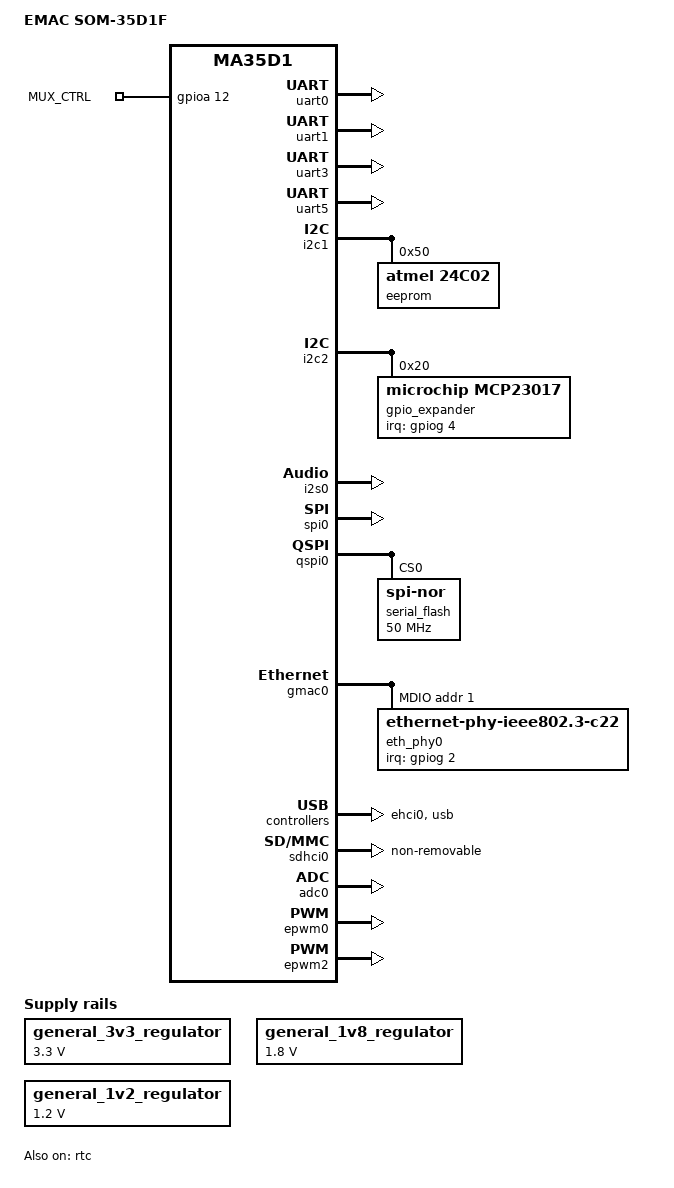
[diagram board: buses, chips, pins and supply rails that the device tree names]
// SPDX-License-Identifier: GPL-2.0-or-later
/*
 * Device Tree Include file for the SoM-35D1F
 *
 * Copyright (C) 2024 EMAC Inc.
 *
 */

#include "ma35d1.dtsi"
#include <dt-bindings/leds/common.h>
#include <dt-bindings/net/mscc-phy-vsc8531.h>
#include <dt-bindings/gpio/gpio.h>
#include <dt-bindings/interrupt-controller/irq.h>

/ {
	model = "EMAC SOM-35D1F";
	compatible = "emac,som35d1f", "nuvoton,ma35d1";
	chosen {
		bootargs = "root=/dev/mmcblk1p1 rootfstype=ext4 rw rootwait console=ttyS0,115200n8 rdinit=/sbin/init mem=512M";
	};

	general_3v3_regulator: general_3v3_regulator {
		compatible = "regulator-fixed";
		regulator-min-microvolt = <3300000>;
		regulator-max-microvolt = <3300000>;
		regulator-name = "general_3v3_regulator";
		regulator-always-on;
	};

	general_1v8_regulator: general_1v8_regulator {
		compatible = "regulator-fixed";
		regulator-min-microvolt = <1800000>;
		regulator-max-microvolt = <1800000>;
		regulator-name = "general_1v8_regulator";
		regulator-always-on;
	};

	general_1v2_regulator: general_1v2_regulator {
		compatible = "regulator-fixed";
		regulator-min-microvolt = <1200000>;
		regulator-max-microvolt = <1200000>;
		regulator-name = "general_1v2_regulator";
		regulator-always-on;
	};

	volt0_sdhci1: regulator-volt0_sdhci1 {
		compatible = "nuvoton,ma35d1-volt";
		regulator-min-microvolt = <1800000>;
		regulator-max-microvolt = <3300000>;
		regulator-name = "volt0_sdhci1";
		regulator-always-on;
	};


	// hacky as fuck. I need to drive this pin high so that the "other" pins route to the right places in the mux -> gpiog
	gpio_leds_test {
		compatible = "gpio-leds";
		pinctrl-names = "default";
		pinctrl-0 = <&pinctrl_mux_ctrl>;
		status = "okay";
		mux_ctrl {
			label = "MUX_CTRL";
			gpios = <&gpioa 12 GPIO_ACTIVE_HIGH>;
			default-state = "on";
	};
};

};

// all options come with 512 MB
&mem {
	device_type = "memory";
	reg = <0x00000000 0x80000000 0 0x20000000>;
};

// &crypto {
// 	optee_nuvoton = "no";
// };
//
// &key_store {
// 	optee_nuvoton = "yes";
// };
//
// &trng {
// 	optee_nuvoton = "no";
// };

&gpioa {
	gpio-line-names =
		"", "", "", "",
		"", "", "", "",
		"", "", "", "",
		"MUX_CTRL", "#HUB_REST", "CAM_SHUTDOWN", "", "";

	// GPIOA.12 drives MUX_CTRL for U14 and U17.
	// boot_int_mux_sel_hog {
	// 	gpio-hog;
	// 	gpios = <12 GPIO_ACTIVE_HIGH>;
	// 	output-high;
	// 	line-name = "MUX_CTRL";
	// };
};
&gpiob {
	gpio-line-names =
		"", "", "", "",
		"", "", "", "",
		"#FLASH_WP", "", "", "",
		"", "", "", "";
};
&gpioc {
	gpio-line-names =
		"", "", "", "",
		"", "", "", "COMA_DTR",
		"", "", "", "",
		"", "", "", "";

};
&gpiod {
	gpio-line-names =
		"", "", "", "",
		"", "", "", "",
		"#nRESET_PHY", "SPI0_CS2", "SPI0_CS1", "SPI0_CS0",
		"", "", "", "";
};

&gpiog {
	gpio-line-names =
		"IRQA", "#TS_INT", "PHY_INT", "#INT_PMIC",
		"EXP_INTB", "EXP_INTA", "", "",
		"", "", "", "", "",
		"", "", "", "";
};

&gpiol {
	gpio-line-names =
		"", "", "", "",
		"", "", "", "",
		"", "", "", "",
		"", "", "SPI0_CS3", "";
};
&gpion {
	gpio-line-names =
		"", "", "COMA_DSR", "COMA_RI",
		"", "", "", "",
		"", "", "", "",
		"PWRON_SET#", "", "OSC0_GPIO14", "OSC0_GPIO15";
};


&display {
	pinctrl-names = "default";
	pinctrl-0 = <&pinctrl_lcm>;
};

&rtc {
	lxt-detect-enable = <1>;

	status = "okay";
};

// console
&uart0 {
	pinctrl-names = "default";
	pinctrl-0 = <&pinctrl_uart0>;

	status = "okay";
};

&uart1 {
	pinctrl-names = "default";
	pinctrl-0 = <&pinctrl_uart1>;

	status = "okay";

	uart-has-rtscts;
};

&uart3 {
	pinctrl-names = "default";
	pinctrl-0 = <&pinctrl_uart3>;

	status = "okay";

	uart-has-rtscts;
};

&uart5 {
	pinctrl-names = "default";
	pinctrl-0 = <&pinctrl_uart5>;

	status = "okay";

	uart-has-rtscts;
};

// &i2c0 {
// 	pinctrl-names = "default";
// 	pinctrl-0 = <&pinctrl_i2c0>;
// 	// so this only controls the PMIC U4 -> (TPS65023)...
// };

&i2c1 {
	pinctrl-names = "default";
	pinctrl-0 = <&pinctrl_i2c1>;
	status = "okay";

	#address-cells = <1>;
	#size-cells = <0>;

	// Refdes: U12
	// Chip: 34AA02T-I/OT
	// Datasheet: https://ww1.microchip.com/downloads/en/DeviceDoc/22029F.pdf
	eeprom: atmel@50 {
		// pagesize:
		// size:
		//   wp-gpios: true
		//
		compatible = "atmel,24c02";
		reg = <0x50>;
		// vcc-supply = <&general_3v3_regulator>;
		status = "okay";
	};

	// Refdes: U21
	// Chip: TSC2004
	// Data Sheet: https://www.ti.com/lit/ds/symlink/tsc2004.pdf
	tsc2004: touchscreen@4a {
		pinctrl-names = "default";
		pinctrl-0 = <&pinctrl_tsc2004>;

		compatible = "ti,tsc2004";
		reg = <0x4a>;

		vio-supply = <&general_3v3_regulator>;

		// #RST_IN
		// reset-gpios = <>;
		// interrupts-extended = <&gpiog 1 IRQ_TYPE_EDGE_FALLING>; // IRQ_TYPE_EDGE_FALLING>; , IRQ_TYPE_LEVEL_LOW>; IRQ_TYPE_EDGE_RISING> ;

		interrupt-parent = <&gpiog>;
		interrupts = <1 IRQ_TYPE_EDGE_FALLING>;

		touchscreen-fuzz-x = <4>;
		touchscreen-fuzz-y = <7>;
		touchscreen-fuzz-pressure = <2>;

		touchscreen-size-x = <4096>;
		touchscreen-size-y = <4096>;

		touchscreen-max-pressure = <2048>;

		ti,x-plate-ohms = <280>;
		ti,esd-recovery-timeout-ms = <8000>;

		status = "disabled";
	};
};

&i2c2{
	pinctrl-names = "default";
	pinctrl-0 = <&pinctrl_i2c2>;
	status = "okay";
	// U22
	// Chip: TC358748XBG
	// DataSheet: https://resources.ampheo.com/static/datasheets/toshiba-electronic-devices-and-storage-corporation/tc358748xbg.pdf
	// DRIVER ? -> ;https://github.com/avionic-design/linux-l4t/blob/meerkat/l4t-r21-5/drivers/media/i2c/tc358748.c
	// Option Number: 1
	// csi_bridge: yuv_csi_bridge@ {
	// 	status = "disabled";
	// };

	//
	gpio_expander: gpio_expander@20 {
		compatible = "microchip,mcp23017";
		reg = <0x20>;
		gpio-controller;
		#address-cells = <1>;
		#gpio-cells = <2>;

		interrupt-parent = <&gpiog>;
		interrupts = <4 IRQ_TYPE_LEVEL_LOW>, <5 IRQ_TYPE_LEVEL_LOW>; // EXP_INTA, EXP_INTB
		interrupt-controller;
		#interrupt-cells=<2>;
	};
};

&i2s0 {
	pinctrl-names = "default";
	pinctrl-0 = <&pinctrl_i2s0>;
	status = "okay";
};


// The last rate is altered.
// Why: setup for the display. because the diplay can not div by 3 and is 2 based .....
// we change the dcu rate to get the clk to 33264 kHz.
// see the datasheet for the panel
// <102000000> was the default rate. It might be better to place this in the 255 at some point soon.
// This needs to be tested to make sure that the clk does not mess with others . it shouldn't but further testing is needed
&clk {
	assigned-clock-rates = <1000000000>,
		<266000000>, <196608000>,
		<500000000>, <133056000>;
};

&spi0{
	pinctrl-names = "default";
	pinctrl-0 = <&pinctrl_spi0>;
	num_cs = <4>;
	spi-max-frequency = <5000000>;

	status = "okay";
};

&qspi0 {
	pinctrl-names = "default";
	pinctrl-0 = <&pinctrl_qspi0>;
	num_cs = <1>;
	status = "okay";

	/delete-node/ flash@0;
	/delete-node/ spi@1;

	serial_flash: flash@0 {
		compatible = "jedec,spi-nor";
		reg = <0>;
		spi-max-frequency = <50000000>;

		status = "okay";

		#address-cells = <1>;
		#size-cells = <1>;
		uboot@0 {
			label = "qspi-uboot";
			reg = <0x0 0x300000>;
		};

		uboot-env@300000 {
			label = "qspi-uboot-env";
			reg = <0x300000 0xc0000>;
		};

		device-tree@3c0000 {
			label = "qspi-device-tree";
			reg = <0x3c0000 0x40000>;
		};

		kernel@400000 {
			label = "qspi-kernel";
			reg = <0x400000 0x1800000>;
		};
	};
};

&can1 {
	pinctrl-names = "default";
	pinctrl-0 = <&pinctrl_can1>;
};

&can2 {
	pinctrl-names = "default";
	pinctrl-0 = <&pinctrl_can2>;
};

&gmac0 {
	pinctrl-names = "default";
	pinctrl-0 = <&pinctrl_gmac0>;

	// _PD8MFP_GPIO
	// emac-phy-reset = <&gpiod >;
	status = "okay";

	mdio0: mdio {
		compatible = "snps,dwmac-mdio";
		#address-cells = <1>;
		#size-cells = <0>;
		eth_phy0: ethernet-phy@0 {
			compatible = "ethernet-phy-ieee802.3-c22";
			interrupts-extended = <&gpiog 2 IRQ_TYPE_EDGE_FALLING>;
			reg = <1>;
		};
	};
};

&gmac1 {
	pinctrl-names = "default";
	pinctrl-0 = <&pinctrl_gmac1>;
	status = "disabled";
};

// USB
&ehci0 {
	pinctrl-names = "default";
	pinctrl-0 = <&pinctrl_hsusb0>;
	interrupts = <GIC_SPI 33 IRQ_TYPE_LEVEL_HIGH>;
	oc-active-level = <1>;
	status = "okay";
	// USB2512BI Option 3
};

// now sometimes there is a option to add andother chip to this as a option see page
// page 6 at (OPTION 03) in the schematics.
&usb {
	status = "okay";

};

&sdhci0 {
	pinctrl-names = "default";
	pinctrl-0 = <&pinctrl_sdhci0>;
	disable-wp;
	non-removable;
	/delete-property/ wp-gpios;
	// wp-gpios = <&gpioc 7 GPIO_ACTIVE_HIGH>;

	status = "okay";

	// RefDes:  U16
	// Chip: MTFC4GACAJCN-4M IT
	//
	emmc: slot@0 {
		// reset = nRESET =
		reg = <0>;
		bus-width = <4>;
		non-removable;
		no-1-8-v;
		sd-uhs-sdr50;
	};
};

&sdhci1 {
	pinctrl-names = "default";
	pinctrl-0 = <&pinctrl_sdhci1>;
	status = "disabled";
};

// MIPI/CSI Bridge
&ccap0 {
	pinctrl-names = "default";
	pinctrl-0 = <&pinctrl_ccap0>;
	status = "disabled";
};

&adc0 {
	compatible = "nuvoton,ma35d1-adc";
	pinctrl-names = "default";
	pinctrl-0 = <&pinctrl_adc0>;
	status = "okay";
};

&ehci1 {
	oc-active-level = <1>;
};


&epwm0 {
	pinctrl-names = "default";
	pinctrl-0 = <&pinctrl_epwm0>;
	status = "okay";

	#pwm-cells = <2>;
};

&epwm2 {
	pinctrl-names = "default";
	pinctrl-0 = <&pinctrl_epwm2>;
	status = "okay";

	#pwm-cells = <2>;
};

&pinctrl {
	gpios_pins {
		// MUX_CRTL = PA12
		pinctrl_mux_ctrl: muxctrlgrp {
			nuvoton,pins =
				<SYS_GPA_MFPH_PA12MFP_GPIO 		&pcfg_default>;
		};

		// PG.7 , PG.6 = boot pins
		pinctrl_boot_init_mux: bootinitmuxgrp {
			nuvoton,pins =
				<SYS_GPG_MFPL_PG0MFP_GPIO		&pcfg_default>,
				<SYS_GPG_MFPL_PG1MFP_GPIO		&pcfg_default>,
				<SYS_GPG_MFPL_PG2MFP_GPIO		&pcfg_default>,
				<SYS_GPG_MFPL_PG3MFP_GPIO		&pcfg_default>,
				<SYS_GPG_MFPL_PG4MFP_GPIO		&pcfg_default>,
				<SYS_GPG_MFPL_PG5MFP_GPIO		&pcfg_default>;
		};

		// PWRON_SET#,  #HUB_REST
		pinctrl_pwr_reset: pwrresetgrp {
			nuvoton,pins =
				<SYS_GPN_MFPH_PN12MFP_GPIO		&pcfg_default>,
				<SYS_GPA_MFPH_PA13MFP_GPIO		&pcfg_default>;
		};

		// #FLASH_WP
		pinctrl_flash_wp_ext: flashwpextgrp {
			nuvoton,pins =
				<SYS_GPB_MFPH_PB8MFP_GPIO		&pcfg_default>;
		};

		// GPIO14, OSC0_GPIO15,
		pinctrl_osc_gpios: oscgpiosgrp {
			nuvoton,pins =
				<SYS_GPN_MFPH_PN14MFP_GPIO		&pcfg_default>,
				<SYS_GPN_MFPH_PN15MFP_GPIO		&pcfg_default>;
		};
	};

	uart_pins {
		pinctrl_uart0: uart0grp{
			nuvoton,pins =
				<SYS_GPE_MFPH_PE14MFP_UART0_TXD		&pcfg_default>,
				<SYS_GPE_MFPH_PE15MFP_UART0_RXD		&pcfg_default>;
		};

		pinctrl_uart1: uart1grp{
			// COMA_DTR, COMA_DSR, "COMA_RI"
			nuvoton,pins =
				<SYS_GPA_MFPL_PA0MFP_UART1_nCTS		&pcfg_default>,
				<SYS_GPA_MFPL_PA1MFP_UART1_nRTS		&pcfg_default>,
				<SYS_GPA_MFPL_PA2MFP_UART1_RXD		&pcfg_default>,
				<SYS_GPA_MFPL_PA3MFP_UART1_TXD		&pcfg_default>,

				<SYS_GPC_MFPL_PC7MFP_GPIO		&pcfg_default>,
				<SYS_GPN_MFPL_PN2MFP_GPIO		&pcfg_default>,
				<SYS_GPN_MFPL_PN3MFP_GPIO		&pcfg_default>;
		};

		pinctrl_uart3: uartgrp3 {
			nuvoton,pins =
				<SYS_GPA_MFPL_PA4MFP_UART3_nCTS		&pcfg_default>,
				<SYS_GPA_MFPL_PA5MFP_UART3_nRTS		&pcfg_default>,
				<SYS_GPA_MFPL_PA6MFP_UART3_RXD		&pcfg_default>,
				<SYS_GPA_MFPL_PA7MFP_UART3_TXD		&pcfg_default>;
		};

		pinctrl_uart5: uart5grp {
			nuvoton,pins =
				<SYS_GPA_MFPH_PA8MFP_UART5_nCTS		&pcfg_default>,
				<SYS_GPA_MFPH_PA9MFP_UART5_nRTS		&pcfg_default>,
				<SYS_GPA_MFPH_PA10MFP_UART5_RXD		&pcfg_default>,
				<SYS_GPA_MFPH_PA11MFP_UART5_TXD		&pcfg_default>;
		};
	};

	i2c_pins {
		pinctrl_i2c0: i2c0grp {
			nuvoton,pins =
				<SYS_GPD_MFPL_PD6MFP_I2C0_SDA		&pcfg_default>,
				<SYS_GPD_MFPL_PD7MFP_I2C0_SCL		&pcfg_default>;
		};

		pinctrl_i2c1: i2c1grp {
			nuvoton,pins =
				<SYS_GPN_MFPL_PN4MFP_I2C1_SDA		&pcfg_default>,
				<SYS_GPN_MFPL_PN5MFP_I2C1_SCL		&pcfg_default>;
		};

		pinctrl_i2c2: i2c2grp {
			nuvoton,pins =
				<SYS_GPN_MFPL_PN0MFP_I2C2_SDA		&pcfg_default>,
				<SYS_GPN_MFPL_PN1MFP_I2C2_SCL		&pcfg_default>;
		};
	};

	spi_pins {
		pinctrl_spi0: spi0grp {
			// SPI0_CS0 , SPI0_CS1 ,SPI0_CS2 ,SPI0_CS3 ,
			nuvoton,pins =
				<SYS_GPB_MFPH_PB9MFP_SPI0_CLK		&pcfg_default>,
				<SYS_GPB_MFPH_PB10MFP_SPI0_MOSI		&pcfg_default>,
				<SYS_GPB_MFPH_PB11MFP_SPI0_MISO		&pcfg_default>,

				<SYS_GPD_MFPH_PD11MFP_GPIO		&pcfg_default>,
				<SYS_GPD_MFPH_PD10MFP_GPIO		&pcfg_default>,
				<SYS_GPD_MFPH_PD9MFP_GPIO		&pcfg_default>,
				<SYS_GPL_MFPH_PL14MFP_GPIO		&pcfg_default>;
		};

		pinctrl_qspi0: qspi0grp {
			nuvoton,pins =
				<SYS_GPD_MFPL_PD0MFP_QSPI0_SS0		&pcfg_default>,
				<SYS_GPD_MFPL_PD1MFP_QSPI0_CLK		&pcfg_default>,
				<SYS_GPD_MFPL_PD2MFP_QSPI0_MOSI0	&pcfg_default>,
				<SYS_GPD_MFPL_PD3MFP_QSPI0_MISO0	&pcfg_default>,
				<SYS_GPD_MFPL_PD4MFP_QSPI0_MOSI1	&pcfg_default>,
				<SYS_GPD_MFPL_PD5MFP_QSPI0_MISO1	&pcfg_default>;
		};
	};

	networking_pins {
		pinctrl_gmac0: gmac0grp {
			// #nRESET_PHY
			nuvoton,pins =
				<SYS_GPD_MFPH_PD8MFP_GPIO 		&pcfg_default>,
				<SYS_GPE_MFPL_PE0MFP_RGMII0_MDC		&pcfg_emac_1_8V>,
				<SYS_GPE_MFPL_PE1MFP_RGMII0_MDIO	&pcfg_emac_1_8V>,

				<SYS_GPE_MFPL_PE2MFP_RGMII0_TXCTL	&pcfg_emac_1_8V>,
				<SYS_GPE_MFPL_PE3MFP_RGMII0_TXD0	&pcfg_emac_1_8V>,
				<SYS_GPE_MFPL_PE4MFP_RGMII0_TXD1	&pcfg_emac_1_8V>,

				<SYS_GPE_MFPL_PE5MFP_RGMII0_RXCLK	&pcfg_emac_1_8V>,
				<SYS_GPE_MFPL_PE6MFP_RGMII0_RXCTL	&pcfg_emac_1_8V>,
				<SYS_GPE_MFPL_PE7MFP_RGMII0_RXD0	&pcfg_emac_1_8V>,
				<SYS_GPE_MFPH_PE8MFP_RGMII0_RXD1	&pcfg_emac_1_8V>,
				<SYS_GPE_MFPH_PE9MFP_RGMII0_RXD2	&pcfg_emac_1_8V>,
				<SYS_GPE_MFPH_PE10MFP_RGMII0_RXD3	&pcfg_emac_1_8V>,

				<SYS_GPE_MFPH_PE11MFP_RGMII0_TXCLK	&pcfg_emac_1_8V>,
				<SYS_GPE_MFPH_PE12MFP_RGMII0_TXD2	&pcfg_emac_1_8V>,
				<SYS_GPE_MFPH_PE13MFP_RGMII0_TXD3	&pcfg_emac_1_8V>;

		};

		pinctrl_gmac1: gmac1grp{
			nuvoton,pins =
				<SYS_GPF_MFPL_PF0MFP_RMII1_MDC          &pcfg_emac_3_3V>,
				<SYS_GPF_MFPL_PF1MFP_RMII1_MDIO         &pcfg_emac_3_3V>,
				<SYS_GPF_MFPL_PF2MFP_RMII1_TXEN         &pcfg_emac_3_3V>,
				<SYS_GPF_MFPL_PF3MFP_RMII1_TXD0         &pcfg_emac_3_3V>,
				<SYS_GPF_MFPL_PF4MFP_RMII1_TXD1         &pcfg_emac_3_3V>,
				<SYS_GPF_MFPL_PF5MFP_RMII1_REFCLK       &pcfg_emac_3_3V>,
				<SYS_GPF_MFPL_PF6MFP_RMII1_CRSDV        &pcfg_emac_3_3V>,
				<SYS_GPF_MFPL_PF7MFP_RMII1_RXD0         &pcfg_emac_3_3V>,
				<SYS_GPF_MFPH_PF8MFP_RMII1_RXD1         &pcfg_emac_3_3V>,
				<SYS_GPF_MFPH_PF9MFP_RMII1_RXERR        &pcfg_emac_3_3V>;
		};

		pinctrl_can1: can1grp {
			nuvoton,pins =
				<SYS_GPN_MFPL_PN6MFP_CAN1_RXD		&pcfg_default>,
				<SYS_GPN_MFPL_PN7MFP_CAN1_TXD		&pcfg_default>;
		};

		pinctrl_can2: can2grp {
			nuvoton,pins =
				<SYS_GPN_MFPH_PN10MFP_CAN2_RXD		&pcfg_default>,
				<SYS_GPN_MFPH_PN11MFP_CAN2_TXD		&pcfg_default>;
		};

	};

	usb_pins {
		pinctrl_hsusb0: hsusb0grp {
			nuvoton,pins =
				<SYS_GPL_MFPH_PL12MFP_HSUSBH_PWREN	&pcfg_default>,
				<SYS_GPL_MFPH_PL13MFP_HSUSBH_OVC	&pcfg_default>,
				<SYS_GPF_MFPH_PF15MFP_HSUSB0_VBUSVLD	&pcfg_default>;
		};
	};


	sdhci_pins{

		pinctrl_sdhci0: sdhci0grp {
			nuvoton,pins =
				<SYS_GPC_MFPL_PC0MFP_eMMC0_CMD		&pcfg_sdhci_drive2_3_3V>,
				<SYS_GPC_MFPL_PC1MFP_eMMC0_CLK		&pcfg_sdhci_drive2_3_3V>,
				<SYS_GPC_MFPL_PC2MFP_eMMC0_DAT0		&pcfg_sdhci_drive2_3_3V>,
				<SYS_GPC_MFPL_PC3MFP_eMMC0_DAT1		&pcfg_sdhci_drive2_3_3V>,
				<SYS_GPC_MFPL_PC4MFP_eMMC0_DAT2		&pcfg_sdhci_drive2_3_3V>,
				<SYS_GPC_MFPL_PC5MFP_eMMC0_DAT3		&pcfg_sdhci_drive2_3_3V>;
		};


		pinctrl_sdhci1: sdhci1grp {
			nuvoton,pins =
				<SYS_GPJ_MFPH_PJ8MFP_SD1_DAT0		&pcfg_sdhci_drive2_3_3V>,
				<SYS_GPJ_MFPH_PJ9MFP_SD1_DAT1		&pcfg_sdhci_drive2_3_3V>,
				<SYS_GPJ_MFPH_PJ10MFP_SD1_DAT2		&pcfg_sdhci_drive2_3_3V>,
				<SYS_GPJ_MFPH_PJ11MFP_SD1_DAT3 		&pcfg_sdhci_drive2_3_3V>,
				<SYS_GPJ_MFPL_PJ7MFP_SD1_CLK		&pcfg_sdhci_drive2_3_3V>,
				<SYS_GPJ_MFPL_PJ6MFP_SD1_CMD		&pcfg_sdhci_drive2_3_3V>,
				<SYS_GPJ_MFPL_PJ5MFP_SD1_nCD		&pcfg_sdhci_drive2_3_3V>,
				<SYS_GPJ_MFPL_PJ4MFP_SD1_WP		&pcfg_sdhci_drive2_3_3V>;
		};

	};

	audio_pins {
		pinctrl_i2s0: i2s0grp {
			nuvoton,pins =
				<SYS_GPG_MFPH_PG11MFP_I2S0_MCLK		&pcfg_default>,
				<SYS_GPG_MFPH_PG12MFP_I2S0_LRCK		&pcfg_default>,
				<SYS_GPG_MFPH_PG13MFP_I2S0_BCLK		&pcfg_default>,
				<SYS_GPG_MFPH_PG14MFP_I2S0_DI		&pcfg_default>,
				<SYS_GPG_MFPH_PG15MFP_I2S0_DO		&pcfg_default>;
		};
	};

	video_pins {
		// #TS_INT
		pinctrl_tsc2004:tsc2004grp {
			nuvoton,pins =
				<SYS_GPG_MFPL_PG1MFP_GPIO 		&pcfg_default>;
		};

		pinctrl_lcm: lcmgrp {
			nuvoton,pins =
				<SYS_GPG_MFPH_PG8MFP_LCM_VSYNC		&pcfg_default>,
				<SYS_GPG_MFPH_PG9MFP_LCM_HSYNC		&pcfg_default>,
				<SYS_GPG_MFPH_PG10MFP_LCM_CLK		&pcfg_default>,
				<SYS_GPK_MFPL_PK4MFP_LCM_DEN		&pcfg_default>,
				<SYS_GPI_MFPH_PI8MFP_LCM_DATA0		&pcfg_default>,
				<SYS_GPI_MFPH_PI9MFP_LCM_DATA1		&pcfg_default>,
				<SYS_GPI_MFPH_PI10MFP_LCM_DATA2		&pcfg_default>,
				<SYS_GPI_MFPH_PI11MFP_LCM_DATA3		&pcfg_default>,
				<SYS_GPI_MFPH_PI12MFP_LCM_DATA4		&pcfg_default>,
				<SYS_GPI_MFPH_PI13MFP_LCM_DATA5		&pcfg_default>,
				<SYS_GPI_MFPH_PI14MFP_LCM_DATA6		&pcfg_default>,
				<SYS_GPI_MFPH_PI15MFP_LCM_DATA7		&pcfg_default>,
				<SYS_GPH_MFPL_PH0MFP_LCM_DATA8		&pcfg_default>,
				<SYS_GPH_MFPL_PH1MFP_LCM_DATA9		&pcfg_default>,
				<SYS_GPH_MFPL_PH2MFP_LCM_DATA10		&pcfg_default>,
				<SYS_GPH_MFPL_PH3MFP_LCM_DATA11		&pcfg_default>,
				<SYS_GPH_MFPL_PH4MFP_LCM_DATA12		&pcfg_default>,
				<SYS_GPH_MFPL_PH5MFP_LCM_DATA13		&pcfg_default>,
				<SYS_GPH_MFPL_PH6MFP_LCM_DATA14		&pcfg_default>,
				<SYS_GPH_MFPL_PH7MFP_LCM_DATA15		&pcfg_default>,
				<SYS_GPC_MFPH_PC12MFP_LCM_DATA16	&pcfg_default>,
				<SYS_GPC_MFPH_PC13MFP_LCM_DATA17	&pcfg_default>,
				<SYS_GPC_MFPH_PC14MFP_LCM_DATA18	&pcfg_default>,
				<SYS_GPC_MFPH_PC15MFP_LCM_DATA19	&pcfg_default>,
				<SYS_GPH_MFPH_PH12MFP_LCM_DATA20	&pcfg_default>,
				<SYS_GPH_MFPH_PH13MFP_LCM_DATA21	&pcfg_default>,
				<SYS_GPH_MFPH_PH14MFP_LCM_DATA22	&pcfg_default>,
				<SYS_GPH_MFPH_PH15MFP_LCM_DATA23	&pcfg_default>;
		};
	};

	// OKAY THIS NEEDS tyo be refactored because of the options of this board
	camera_pins {
		// CAM_SHUTDOWN
		pinctrl_ccap0: ccap0grp{
			nuvoton,pins =
				<SYS_GPK_MFPH_PK9MFP_CCAP0_SCLK		&pcfg_default>,
				<SYS_GPK_MFPH_PK10MFP_CCAP0_PIXCLK	&pcfg_default>,
				<SYS_GPK_MFPH_PK11MFP_CCAP0_HSYNC	&pcfg_default>,
				<SYS_GPM_MFPL_PM0MFP_CCAP0_VSYNC	&pcfg_default>,
				<SYS_GPM_MFPL_PM2MFP_CCAP0_DATA0	&pcfg_default>,
				<SYS_GPM_MFPL_PM3MFP_CCAP0_DATA1	&pcfg_default>,
				<SYS_GPM_MFPL_PM4MFP_CCAP0_DATA2	&pcfg_default>,
				<SYS_GPM_MFPL_PM5MFP_CCAP0_DATA3	&pcfg_default>,
				<SYS_GPM_MFPL_PM6MFP_CCAP0_DATA4	&pcfg_default>,
				<SYS_GPM_MFPL_PM7MFP_CCAP0_DATA5	&pcfg_default>,
				<SYS_GPM_MFPH_PM8MFP_CCAP0_DATA6	&pcfg_default>,
				<SYS_GPM_MFPH_PM9MFP_CCAP0_DATA7	&pcfg_default>,
				<SYS_GPA_MFPH_PA14MFP_GPIO		&pcfg_default>;
		};
	};

	adc_pins {
		pinctrl_adc0: adc0grp {
			nuvoton,pins =
				<SYS_GPB_MFPH_PB12MFP_ADC0_CH4		&pcfg_default>,
				<SYS_GPB_MFPH_PB13MFP_ADC0_CH5		&pcfg_default>,
				<SYS_GPB_MFPH_PB14MFP_ADC0_CH6		&pcfg_default>,
				<SYS_GPB_MFPH_PB15MFP_ADC0_CH7		&pcfg_default>;
		};
	};

	epwm_pins {
		pinctrl_epwm0: epwm0grp{
			nuvoton,pins =
				<SYS_GPL_MFPH_PL15MFP_EPWM0_CH1		&pcfg_default>,
				<SYS_GPA_MFPH_PA15MFP_EPWM0_CH2		&pcfg_default>;
		};
		pinctrl_epwm2: epwm2grp{
			nuvoton,pins =
				<SYS_GPK_MFPH_PK12MFP_EPWM2_CH0		&pcfg_default>;
		};
	};

};

